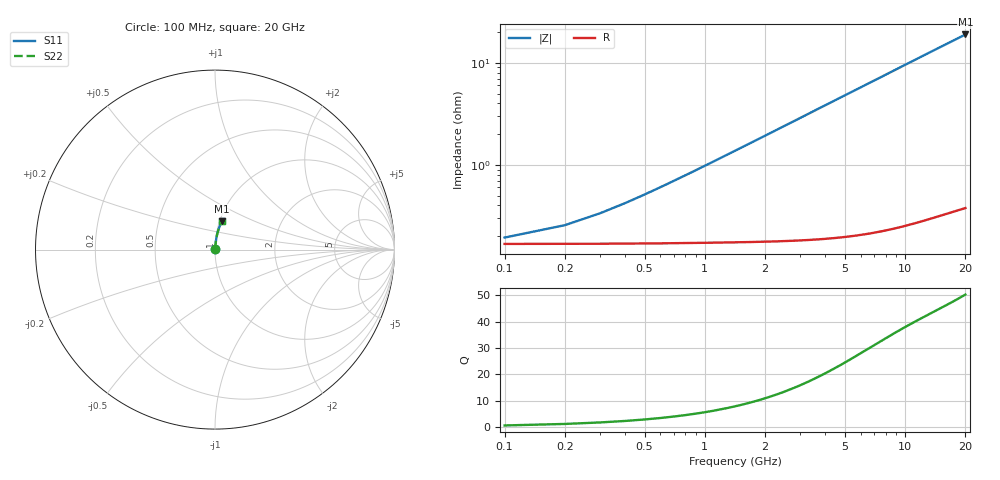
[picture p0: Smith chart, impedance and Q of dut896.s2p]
! Touchstone file exported from HFSS 2026.1.0
!  File:  C:/ffzhzh/LocalFiles/Ansys_Project_Files/temp_train_TSV_896_1783186047_22436.aedt
!  Generated:  01:29:47 AM Jul  5, 2026
!  Design:  TSV
!  Project:  temp_train_TSV_896_1783186047_22436
! Variables:
!  h_bsmrdl = 2um
!  h_ox = 20um
!  h_rdl = 5um
!  h_sub = 67.61um
!  h_tmrdl = 5um
!  h_tsv = 67.61um
!  h_via = 3um
!  l_bsmrdl = 300um
!  l_sub = 404.32um
!  l_tmrdl = 200um
!  m_sub = 200um
!  pitch = 59.41um
!  r_tsv = 2.16um
!  s_tmrdl = 10um
!  w_bsmrdl = 18um
!  w_sub = 500um
!  w_tmrdl = 12um
!  x_tsv_center1 = 206um
!  x_tsv_center2 = 524um
!  x_tsv_center3 = 736um
!  x_tsv_center4 = 1054um
!  x_tsv_center5 = 1266um
!  x_tsv_center6 = 1584um
# GHz S MA R 50.000000
! Terminal data exported
! Port[1] = TSV1_1_T1
! Port[2] = TSV1_1_T2
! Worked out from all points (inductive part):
!   200 points, 100 MHz to 20 GHz, reference 50 ohm
!   read as one part in series: L = 153 pH near 600 MHz
!   highest Q = 50.3 at 20 GHz (marker M1), where L = 151 pH
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0.1  0.001876 26.7  0.9983 -0.1  0.9983 -0.1  0.001876 26.7
! Gamma 0 0 0 0
! Port Impedance 50 0 50 0
0.3  0.003042 56.2  0.9983 -0.2  0.9983 -0.2  0.003042 56.2
0.4  0.003775 63.2  0.9983 -0.2  0.9983 -0.2  0.003775 63.2
0.5  0.004545 67.8  0.9983 -0.3  0.9983 -0.3  0.004545 67.8
0.6  0.005336 71.1  0.9983 -0.4  0.9983 -0.4  0.005336 71.1
0.7  0.00614 73.5  0.9983 -0.4  0.9983 -0.4  0.00614 73.5
0.9  0.007767 76.7  0.9983 -0.6  0.9983 -0.6  0.007767 76.7
1.2  0.01024 79.5  0.9982 -0.7  0.9982 -0.7  0.01024 79.5
1.4  0.01189 80.7  0.9982 -0.9  0.9982 -0.9  0.01189 80.7
1.7  0.01438 82.0  0.9981 -1.1  0.9981 -1.1  0.01438 82.0
2.2  0.01854 83.2  0.9981 -1.4  0.9981 -1.4  0.01854 83.2
2.8  0.02355 83.9  0.9979 -1.7  0.9979 -1.7  0.02355 83.9
3.5  0.02939 84.2  0.9977 -2.2  0.9977 -2.2  0.02939 84.2
4.2  0.03522 84.3  0.9975 -2.6  0.9975 -2.6  0.03522 84.3
5  0.04188 84.2  0.9972 -3.1  0.9972 -3.1  0.04188 84.2
5.9  0.04935 84.0  0.9967 -3.6  0.9967 -3.6  0.04935 84.0
6.8  0.0568 83.7  0.9963 -4.2  0.9963 -4.2  0.0568 83.7
8.3  0.06917 83.0  0.9953 -5.1  0.9953 -5.1  0.06917 83.0
10.1  0.08391 82.1  0.994 -6.2  0.994 -6.2  0.08391 82.1
13.4  0.1106 80.3  0.9909 -8.2  0.9909 -8.2  0.1106 80.3
16.7  0.1369 78.4  0.9872 -10.2  0.9872 -10.2  0.1369 78.4
20  0.1627 76.6  0.983 -12.1  0.983 -12.1  0.1627 76.6
